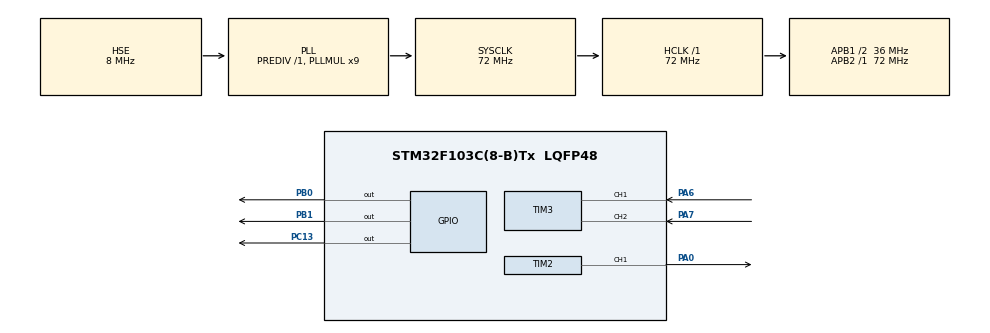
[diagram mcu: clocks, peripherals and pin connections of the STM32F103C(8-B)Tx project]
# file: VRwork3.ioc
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Mcu.Family=STM32F1
Mcu.Name=STM32F103C(8-B)Tx
Mcu.Package=LQFP48
NVIC.PriorityGroup=NVIC_PRIORITYGROUP_4
NVIC.TIM4_IRQn=true\:0\:0\:false\:false\:true\:true\:true\:true
PA0-WKUP.Signal=S_TIM2_CH1_ETR
PA13.Mode=Serial_Wire
PA13.Signal=SYS_JTMS-SWDIO
PA14.Mode=Serial_Wire
PA14.Signal=SYS_JTCK-SWCLK
PA6.Signal=S_TIM3_CH1
PA7.Signal=S_TIM3_CH2
PB0.GPIO_PuPd=GPIO_NOPULL
PB0.Signal=GPIO_Output
PB1.GPIO_PuPd=GPIO_NOPULL
PB1.Signal=GPIO_Output
PC13-TAMPER-RTC.GPIO_PuPd=GPIO_PULLUP
PC13-TAMPER-RTC.Signal=GPIO_Output
PD0-OSC_IN.Mode=HSE-External-Oscillator
PD0-OSC_IN.Signal=RCC_OSC_IN
PD1-OSC_OUT.Mode=HSE-External-Oscillator
PD1-OSC_OUT.Signal=RCC_OSC_OUT
ProjectManager.HeapSize=0x200
ProjectManager.StackSize=0x400
ProjectManager.TargetToolchain=MDK-ARM V5.32
RCC.AHBFreq_Value=72000000
RCC.APB1CLKDivider=RCC_HCLK_DIV2
RCC.APB1Freq_Value=36000000
RCC.APB1TimFreq_Value=72000000
RCC.APB2Freq_Value=72000000
RCC.APB2TimFreq_Value=72000000
RCC.HCLKFreq_Value=72000000
RCC.PLLMUL=RCC_PLL_MUL9
RCC.PLLSourceVirtual=RCC_PLLSOURCE_HSE
RCC.SYSCLKFreq_VALUE=72000000
RCC.SYSCLKSource=RCC_SYSCLKSOURCE_PLLCLK
RCC.USBFreq_Value=72000000
SH.S_TIM2_CH1_ETR.0=TIM2_CH1,PWM Generation1 CH1
SH.S_TIM3_CH1.0=TIM3_CH1,Encoder_Interface
SH.S_TIM3_CH2.0=TIM3_CH2,Encoder_Interface
TIM2.Channel-PWM\ Generation1\ CH1=TIM_CHANNEL_1
TIM2.Period=999
TIM2.Prescaler=71
TIM3.EncoderMode=TIM_ENCODERMODE_TI12
TIM4.Period=999
TIM4.Prescaler=71
VP_TIM4_VS_ClockSourceINT.Mode=Internal
board=custom

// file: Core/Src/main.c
/* USER CODE BEGIN Header */
/**
  ******************************************************************************
  * @file           : main.c
  * @brief          : Main program body
  ******************************************************************************
  * @attention
  *
  * Copyright (c) 2025 STMicroelectronics.
  * All rights reserved.
  *
  * This software is licensed under terms that can be found in the LICENSE file
  * in the root directory of this software component.
  * If no LICENSE file comes with this software, it is provided AS-IS.
  *
  ******************************************************************************
  */
/* USER CODE END Header */
#include "main.h"

TIM_HandleTypeDef htim2;
TIM_HandleTypeDef htim3;
TIM_HandleTypeDef htim4;

/* USER CODE BEGIN PV */
int32_t encoder_total_count = 0;

volatile float speed =0;
float target_rpm = 0.0f;

static float DBG_RPM = 0;
volatile float DBG_TARGET = 0;
volatile int32_t DBG_PWM = 0;
volatile int32_t DBG_ENCODER = 0;

volatile float DBG_ERROR = 0;

 int32_t current_count = 0;
 int32_t previous_count = 0;

/* USER CODE END PV */

void SystemClock_Config(void);
static void MX_GPIO_Init(void);
static void MX_TIM2_Init(void);
static void MX_TIM4_Init(void);
static void MX_TIM3_Init(void);
/* USER CODE BEGIN PFP */
void Update_Encoder_Data(void);
void Motor_SetSpeed(int32_t speed);
void Set_Target_Speed(float rpm);
/* USER CODE END PFP */

int main(void)
{

  /* MCU Configuration--------------------------------------------------------*/

  /* Reset of all peripherals, Initializes the Flash interface and the Systick. */
  HAL_Init();

  /* Configure the system clock */
  SystemClock_Config();

  /* Initialize all configured peripherals */
  MX_GPIO_Init();
  MX_TIM2_Init();
  MX_TIM4_Init();
  MX_TIM3_Init();
  /* USER CODE BEGIN 2 */
HAL_TIM_PWM_Start(&htim2, TIM_CHANNEL_1);
HAL_TIM_Encoder_Start(&htim3, TIM_CHANNEL_ALL);
HAL_TIM_Base_Start_IT(&htim4);

DBG_RPM = 0;
DBG_PWM = 0;
DBG_ENCODER = 0;
DBG_ERROR = 0;
  /* USER CODE END 2 */

  /* Infinite loop */
  /* USER CODE BEGIN WHILE */
uint32_t last_time = 0;
uint8_t manual_speed = 0;

  while (1)
  {
    HAL_Delay(10);
  }
    /* USER CODE END WHILE */

}

void SystemClock_Config(void)
{
  RCC_OscInitTypeDef RCC_OscInitStruct = {0};
  RCC_ClkInitTypeDef RCC_ClkInitStruct = {0};

  /** Initializes the RCC Oscillators according to the specified parameters
  * in the RCC_OscInitTypeDef structure.
  */
  RCC_OscInitStruct.OscillatorType = RCC_OSCILLATORTYPE_HSE;
  RCC_OscInitStruct.HSEState = RCC_HSE_ON;
  RCC_OscInitStruct.HSEPredivValue = RCC_HSE_PREDIV_DIV1;
  RCC_OscInitStruct.HSIState = RCC_HSI_ON;
  RCC_OscInitStruct.PLL.PLLState = RCC_PLL_ON;
  RCC_OscInitStruct.PLL.PLLSource = RCC_PLLSOURCE_HSE;
  RCC_OscInitStruct.PLL.PLLMUL = RCC_PLL_MUL9;
  if (HAL_RCC_OscConfig(&RCC_OscInitStruct) != HAL_OK)
  {
    Error_Handler();
  }

  /** Initializes the CPU, AHB and APB buses clocks
  */
  RCC_ClkInitStruct.ClockType = RCC_CLOCKTYPE_HCLK|RCC_CLOCKTYPE_SYSCLK
                              |RCC_CLOCKTYPE_PCLK1|RCC_CLOCKTYPE_PCLK2;
  RCC_ClkInitStruct.SYSCLKSource = RCC_SYSCLKSOURCE_PLLCLK;
  RCC_ClkInitStruct.AHBCLKDivider = RCC_SYSCLK_DIV1;
  RCC_ClkInitStruct.APB1CLKDivider = RCC_HCLK_DIV2;
  RCC_ClkInitStruct.APB2CLKDivider = RCC_HCLK_DIV1;

  if (HAL_RCC_ClockConfig(&RCC_ClkInitStruct, FLASH_LATENCY_2) != HAL_OK)
  {
    Error_Handler();
  }
}

static void MX_TIM2_Init(void)
{

  TIM_MasterConfigTypeDef sMasterConfig = {0};
  TIM_OC_InitTypeDef sConfigOC = {0};

  htim2.Instance = TIM2;
  htim2.Init.Prescaler = 71;
  htim2.Init.CounterMode = TIM_COUNTERMODE_UP;
  htim2.Init.Period = 999;
  htim2.Init.ClockDivision = TIM_CLOCKDIVISION_DIV1;
  htim2.Init.AutoReloadPreload = TIM_AUTORELOAD_PRELOAD_DISABLE;
  if (HAL_TIM_PWM_Init(&htim2) != HAL_OK)
  {
    Error_Handler();
  }
  sMasterConfig.MasterOutputTrigger = TIM_TRGO_RESET;
  sMasterConfig.MasterSlaveMode = TIM_MASTERSLAVEMODE_DISABLE;
  if (HAL_TIMEx_MasterConfigSynchronization(&htim2, &sMasterConfig) != HAL_OK)
  {
    Error_Handler();
  }
  sConfigOC.OCMode = TIM_OCMODE_PWM1;
  sConfigOC.Pulse = 0;
  sConfigOC.OCPolarity = TIM_OCPOLARITY_HIGH;
  sConfigOC.OCFastMode = TIM_OCFAST_DISABLE;
  if (HAL_TIM_PWM_ConfigChannel(&htim2, &sConfigOC, TIM_CHANNEL_1) != HAL_OK)
  {
    Error_Handler();
  }
  HAL_TIM_MspPostInit(&htim2);

}

static void MX_TIM3_Init(void)
{

  TIM_Encoder_InitTypeDef sConfig = {0};
  TIM_MasterConfigTypeDef sMasterConfig = {0};

  htim3.Instance = TIM3;
  htim3.Init.Prescaler = 0;
  htim3.Init.CounterMode = TIM_COUNTERMODE_UP;
  htim3.Init.Period = 65535;
  htim3.Init.ClockDivision = TIM_CLOCKDIVISION_DIV1;
  htim3.Init.AutoReloadPreload = TIM_AUTORELOAD_PRELOAD_DISABLE;
  sConfig.EncoderMode = TIM_ENCODERMODE_TI12;
  sConfig.IC1Polarity = TIM_ICPOLARITY_RISING;
  sConfig.IC1Selection = TIM_ICSELECTION_DIRECTTI;
  sConfig.IC1Prescaler = TIM_ICPSC_DIV1;
  sConfig.IC1Filter = 0;
  sConfig.IC2Polarity = TIM_ICPOLARITY_RISING;
  sConfig.IC2Selection = TIM_ICSELECTION_DIRECTTI;
  sConfig.IC2Prescaler = TIM_ICPSC_DIV1;
  sConfig.IC2Filter = 0;
  if (HAL_TIM_Encoder_Init(&htim3, &sConfig) != HAL_OK)
  {
    Error_Handler();
  }
  sMasterConfig.MasterOutputTrigger = TIM_TRGO_RESET;
  sMasterConfig.MasterSlaveMode = TIM_MASTERSLAVEMODE_DISABLE;
  if (HAL_TIMEx_MasterConfigSynchronization(&htim3, &sMasterConfig) != HAL_OK)
  {
    Error_Handler();
  }

}

static void MX_TIM4_Init(void)
{

  TIM_ClockConfigTypeDef sClockSourceConfig = {0};
  TIM_MasterConfigTypeDef sMasterConfig = {0};

  htim4.Instance = TIM4;
  htim4.Init.Prescaler = 71;
  htim4.Init.CounterMode = TIM_COUNTERMODE_UP;
  htim4.Init.Period = 999;
  htim4.Init.ClockDivision = TIM_CLOCKDIVISION_DIV1;
  htim4.Init.AutoReloadPreload = TIM_AUTORELOAD_PRELOAD_DISABLE;
  if (HAL_TIM_Base_Init(&htim4) != HAL_OK)
  {
    Error_Handler();
  }
  sClockSourceConfig.ClockSource = TIM_CLOCKSOURCE_INTERNAL;
  if (HAL_TIM_ConfigClockSource(&htim4, &sClockSourceConfig) != HAL_OK)
  {
    Error_Handler();
  }
  sMasterConfig.MasterOutputTrigger = TIM_TRGO_RESET;
  sMasterConfig.MasterSlaveMode = TIM_MASTERSLAVEMODE_DISABLE;
  if (HAL_TIMEx_MasterConfigSynchronization(&htim4, &sMasterConfig) != HAL_OK)
  {
    Error_Handler();
  }

}

static void MX_GPIO_Init(void)
{
  GPIO_InitTypeDef GPIO_InitStruct = {0};

  /* GPIO Ports Clock Enable */
  __HAL_RCC_GPIOC_CLK_ENABLE();
  __HAL_RCC_GPIOD_CLK_ENABLE();
  __HAL_RCC_GPIOA_CLK_ENABLE();
  __HAL_RCC_GPIOB_CLK_ENABLE();

  /*Configure GPIO pin Output Level */
  HAL_GPIO_WritePin(GPIOC, GPIO_PIN_13, GPIO_PIN_RESET);

  /*Configure GPIO pin Output Level */
  HAL_GPIO_WritePin(GPIOB, GPIO_PIN_0|GPIO_PIN_1, GPIO_PIN_RESET);

  /*Configure GPIO pin : PC13 */
  GPIO_InitStruct.Pin = GPIO_PIN_13;
  GPIO_InitStruct.Mode = GPIO_MODE_OUTPUT_PP;
  GPIO_InitStruct.Pull = GPIO_PULLUP;
  GPIO_InitStruct.Speed = GPIO_SPEED_FREQ_LOW;
  HAL_GPIO_Init(GPIOC, &GPIO_InitStruct);

  /*Configure GPIO pins : PB0 PB1 */
  GPIO_InitStruct.Pin = GPIO_PIN_0|GPIO_PIN_1;
  GPIO_InitStruct.Mode = GPIO_MODE_OUTPUT_PP;
  GPIO_InitStruct.Pull = GPIO_NOPULL;
  GPIO_InitStruct.Speed = GPIO_SPEED_FREQ_LOW;
  HAL_GPIO_Init(GPIOB, &GPIO_InitStruct);

}

/* USER CODE BEGIN 4 */

void Set_Target_Speed(float rpm)
{
    target_rpm = rpm;
    DBG_TARGET = rpm;
}

void Update_Encoder_Data(void)
{
   int16_t raw_count = __HAL_TIM_GET_COUNTER(&htim3);
    int16_t diff = 1*raw_count - 1*previous_count;
     if (diff > 32767) diff -= 65536;
    else if (diff < -32767) diff += 65536;

	  float rpm_conversion_factor = 600.0f;
    speed = diff * rpm_conversion_factor;

	if ((diff>0?diff:-diff)> 0)
  {
    target_rpm += diff * 0.5f;
    if (target_rpm > 1000.0f) target_rpm = 1000.0f;
		if (target_rpm < -1000.0f) target_rpm = -1000.0f;
  }

    encoder_total_count += diff;
    previous_count = raw_count;

    DBG_TARGET = target_rpm;
    DBG_ENCODER = encoder_total_count;
}

void Motor_Speed_Control(void)
{
    int32_t pwm_output = (int32_t)target_rpm;

    if (pwm_output > 1000) pwm_output = 1000;
    if (pwm_output < -1000) pwm_output = -1000;

    Motor_SetSpeed(pwm_output);

    DBG_PWM = (pwm_output >= 0) ? pwm_output : -pwm_output;
    DBG_ERROR = target_rpm - DBG_RPM;
}

void Motor_SetSpeed(int32_t speed)
{
    if (speed > 1000) speed = 1000;
    if (speed < -1000) speed = -1000;
      if (speed >= 0)
		{
        HAL_GPIO_WritePin(GPIOB, GPIO_PIN_0, GPIO_PIN_SET);
        HAL_GPIO_WritePin(GPIOB, GPIO_PIN_1, GPIO_PIN_RESET);
    }
		else
		{
        HAL_GPIO_WritePin(GPIOB, GPIO_PIN_0, GPIO_PIN_RESET);
        HAL_GPIO_WritePin(GPIOB, GPIO_PIN_1, GPIO_PIN_SET);
        speed = -speed;
		}
     __HAL_TIM_SET_COMPARE(&htim2, TIM_CHANNEL_1, speed);
    DBG_PWM = (speed >= 0) ? speed : -speed;
}

void HAL_TIM_PeriodElapsedCallback(TIM_HandleTypeDef *htim)
{
    if (htim->Instance == TIM4)
    {
        Update_Encoder_Data();
        Motor_Speed_Control();
    }
}
/* USER CODE END 4 */

void Error_Handler(void)
{
  __disable_irq();
  while (1)
  {
  }
}
